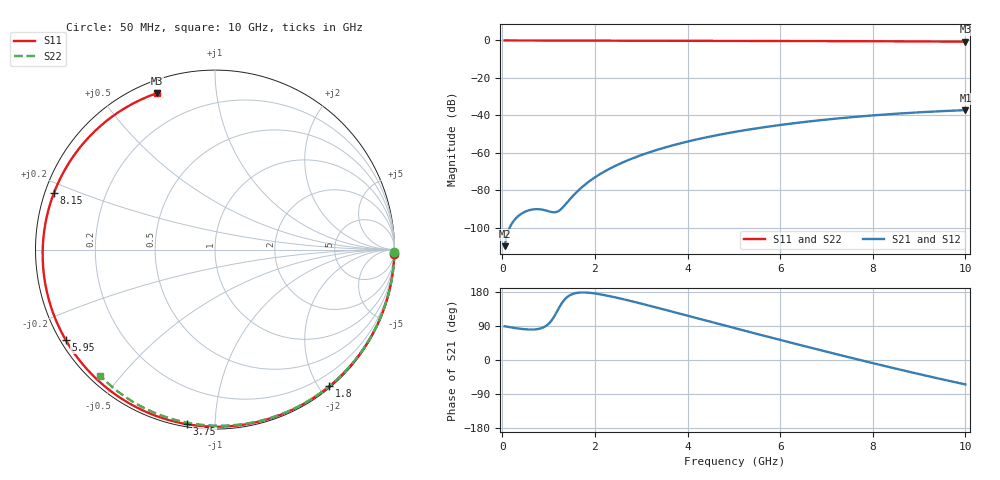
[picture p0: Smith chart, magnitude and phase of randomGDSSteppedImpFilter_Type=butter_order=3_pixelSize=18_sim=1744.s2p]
! freq	dB(S11)	phase(S11)	dB(S12)	phase(S12)
!  dB(S21)	phase(S21)	dB(S22)	phase(S22)
!S-par simulation data
#  GHz  S  DB  R 50
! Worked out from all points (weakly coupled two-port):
!   200 points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, 50 MHz to 10 GHz, reference 50 ohm
!   highest |S21| = -37.19 dB at 10 GHz (marker M1); lowest = -109.8 dB at 50 MHz (marker M2)
!   lowest |S11| = -0.6 dB at 10 GHz (marker M3), VSWR 27.37, Z = 2.71 + j34.7 ohm
!   |S11| at or under -10 dB: nowhere
!   |S22| runs from -0.4 to 0.0 dB; largest |S21 - S12| = 0
!   S11 on the Smith chart (normalised r, x): 50 MHz: 0, -80; 1.8 GHz: 0.02, -2.14; 3.75 GHz: 0.01, -0.85; 5.95 GHz: 0.02, -0.28; 8.15 GHz: 0.03, +0.17; 10 GHz: 0.05, +0.69
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0.05  -0.00 -1.4  -109.78 89.1  -109.78 89.1  -0.00 -0.8
0.4  -0.02 -11.4  -92.66 82.3  -92.66 82.3  -0.01 -6.1
0.8  -0.03 -22.6  -90.08 82.4  -90.08 82.4  -0.02 -12.2
1.6  -0.06 -44.7  -81.04 176.8  -81.04 176.8  -0.03 -24.2
1.65  -0.06 -46.0  -79.85 177.7  -79.85 177.7  -0.03 -24.9
1.75  -0.06 -48.7  -77.66 178.2  -77.66 178.2  -0.03 -26.4
1.8  -0.06 -50.0  -76.65 178.1  -76.65 178.1  -0.03 -27.1
2.1  -0.07 -58.0  -71.49 173.7  -71.49 173.7  -0.04 -31.5
2.45  -0.08 -67.1  -66.81 165.0  -66.81 165.0  -0.05 -36.7
2.9  -0.10 -78.4  -62.09 151.9  -62.09 151.9  -0.06 -43.1
3.4  -0.12 -90.7  -57.94 136.2  -57.94 136.2  -0.07 -50.2
3.75  -0.13 -99.1  -55.51 125.0  -55.51 125.0  -0.07 -55.1
4.4  -0.16 -114.2  -51.73 104.0  -51.73 104.0  -0.09 -64.0
5.05  -0.19 -128.9  -48.67 83.1  -48.67 83.1  -0.11 -72.7
5.95  -0.24 -148.9  -45.28 54.6  -45.28 54.6  -0.15 -84.3
6.7  -0.30 -165.6  -43.01 31.2  -43.01 31.2  -0.18 -93.6
7.45  -0.37 177.3  -41.14 8.3  -41.14 8.3  -0.22 -102.7
8.15  -0.43 160.6  -39.72 -12.7  -39.72 -12.7  -0.27 -111.0
8.35  -0.45 155.7  -39.36 -18.5  -39.36 -18.5  -0.29 -113.4
9.15  -0.54 134.8  -38.15 -41.4  -38.15 -41.4  -0.36 -122.6
9.6  -0.59 122.1  -37.60 -53.8  -37.60 -53.8  -0.40 -127.8
10  -0.64 110.3  -37.19 -64.4  -37.19 -64.4  -0.45 -132.4
